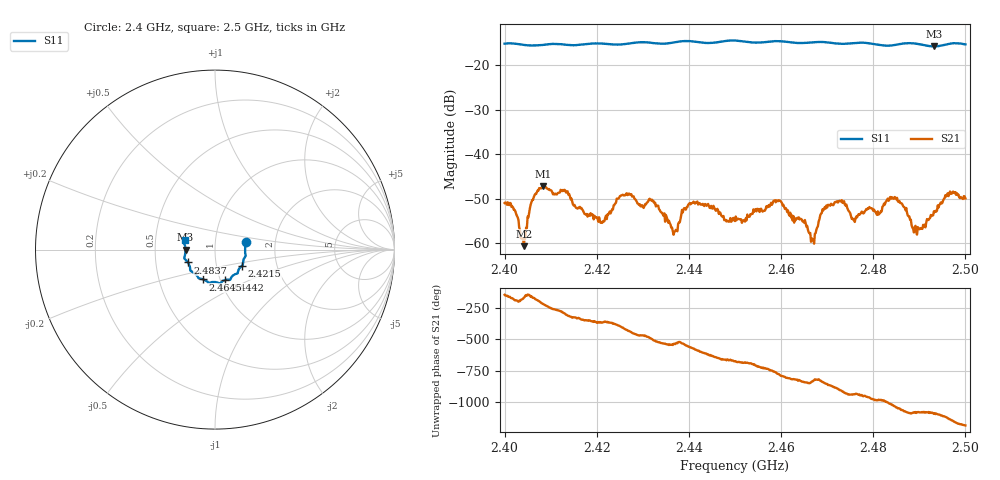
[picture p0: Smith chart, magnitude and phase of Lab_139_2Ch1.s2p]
# Hz S RI R 50
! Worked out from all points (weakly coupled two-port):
!   601 points, 2.4 GHz to 2.5 GHz, reference 50 ohm
!   highest |S21| = -47.25 dB at 2.4083 GHz (marker M1); lowest = -60.7 dB at 2.4042 GHz (marker M2)
!   lowest |S11| = -15.7 dB at 2.4932 GHz (marker M3), VSWR 1.39, Z = 35.9 - j0.0525 ohm
!   |S11| at or under -10 dB: start of sweep to end of sweep
!   S12 and S22 are empty: the file has one direction only
!   S11 on the Smith chart (normalised r, x): 2.4 GHz: 1.41, +0.12; 2.4215 GHz: 1.33, -0.25; 2.4442 GHz: 1.05, -0.37; 2.4645 GHz: 0.83, -0.29; 2.4837 GHz: 0.73, -0.11; 2.5 GHz: 0.71, +0.08
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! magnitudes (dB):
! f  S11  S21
! 2.4 GHz  -15.1  -51.0
! 2.4042 GHz  -15.4  -60.7
! 2.406 GHz  -15.5  -50.3
! 2.4083 GHz  -15.4  -47.3
! 2.4167 GHz  -15.3  -52.1
! 2.4215 GHz  -15.1  -55.2
! 2.426 GHz  -15.2  -49.3
! 2.4333 GHz  -15.1  -51.6
! 2.437 GHz  -14.8  -57.4
! 2.4402 GHz  -14.5  -51.0
! 2.4442 GHz  -15.0  -51.2
! 2.45 GHz  -14.4  -55.1
! 2.4595 GHz  -14.5  -50.4
! 2.4645 GHz  -15.0  -54.7
! 2.4667 GHz  -14.8  -58.9
! 2.4703 GHz  -14.8  -51.4
! 2.4758 GHz  -15.0  -54.7
! 2.4833 GHz  -15.6  -50.5
! 2.4837 GHz  -15.5  -49.7
! 2.489 GHz  -15.1  -56.4
! 2.4932 GHz  -15.7  -52.9
! 2.5 GHz  -15.3  -50.0
